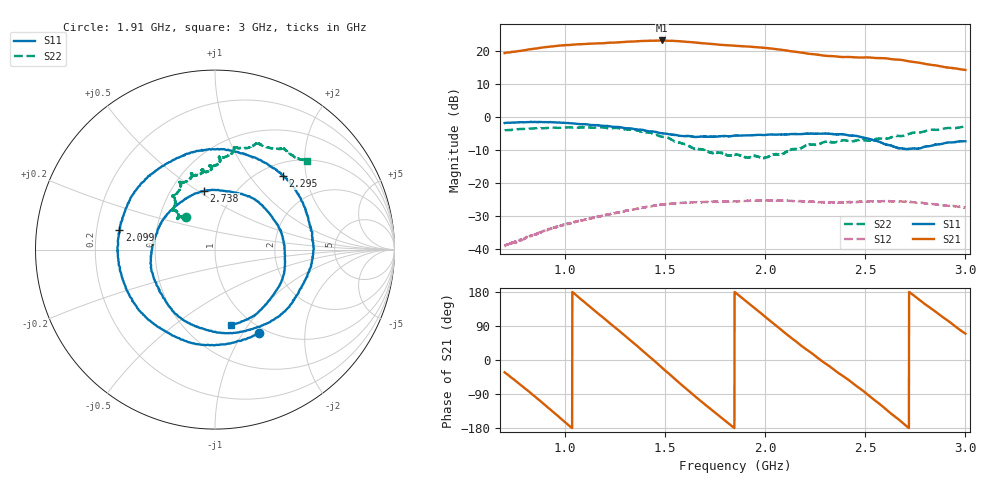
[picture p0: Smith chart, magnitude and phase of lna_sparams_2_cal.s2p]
#  HZ  S  RI  R  50.00
! Rohde & Schwarz Vector Network Analyzer
! Rohde-Schwarz,ZNB20-2Port,1311601062102243,3.20
! Created: UTC 10/31/2022, 5:04:12 PM
! freq[Hz]  re:S11  im:S11  re:S21  im:S21  re:S12  im:S12  re:S22  im:S22
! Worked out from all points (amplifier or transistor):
!   2301 points, 700 MHz to 3 GHz, reference 50 ohm
!   highest |S21| = 23.2 dB at 1.484 GHz (marker M1)
!   |S21| within 3 dB of that: 792.1 MHz to 2.102 GHz (1.31 GHz wide, 90.5 % of centre)
!   unconditionally stable (mu >= 1): start of sweep to 860.5 MHz; 2.042077 GHz to 2.046952 GHz; 2.052 GHz to end of sweep (the widest 3 of 7)
!   at 1.083 GHz: K = 0.81, MSG = 26.8 dB, |S12| = -31.5 dB
!   at 1.85 GHz: K = 0.96, MSG = 23.6 dB, |S12| = -25.5 dB
!   at 3 GHz: K = 1.32, MAG = 17.5 dB, |S12| = -27.5 dB
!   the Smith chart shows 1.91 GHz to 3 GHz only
!   S11 on the Smith chart (normalised r, x): 1.91 GHz: 0.92, -1.19; 2.099 GHz: 0.30, +0.09; 2.295 GHz: 1.24, +1.48; 2.738 GHz: 0.72, +0.53; 3 GHz: 0.81, -0.83
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7e8  0.8044 0.0997  7.844 -4.993  -0.00203 -0.0108  0.5191 0.3587
8.89e8  -0.3628 -0.7547  -4.421 -10.41  -0.0178 -0.00365  0.6231 -0.2605
9.97e8  -0.815 0.0416  -11.62 -3.816  -0.0195 0.0125  0.3682 -0.585
1.084e9  -0.4475 0.6371  -11.83 4.489  -0.00975 0.0252  0.0582 -0.6945
1.181e9  0.2647 0.6912  -5.84 11.71  0.0106 0.0298  -0.283 -0.635
1.272e9  0.6731 0.1932  3.099 13.2  0.0298 0.0196  -0.5169 -0.4287
1.384e9  0.3762 -0.5181  12.68 6.352  0.0411 -0.0101  -0.5883 -0.0862
1.467e9  -0.1937 -0.5433  14.1 -2.845  0.0295 -0.0353  -0.5087 0.1119
1.484e9  -0.3023 -0.4795  13.61 -4.825  0.025 -0.0395  -0.4801 0.1529
1.567e9  -0.5236 0.0207  7.473 -11.93  -0.00354 -0.0494  -0.3433 0.2186
1.644e9  -0.2551 0.4272  -0.6649 -13.51  -0.0307 -0.0408  -0.2565 0.2126
1.75e9  0.3449 0.3689  -9.532 -8.316  -0.0512 -0.00778  -0.1968 0.2041
1.85e9  0.4875 -0.1891  -11.99 0.2511  -0.0451 0.0275  -0.1793 0.1988
1.91e9  0.2469 -0.4646  -10.46 5.249  -0.0305 0.0442  -0.1614 0.1798
2.007e9  -0.3365 -0.4177  -4.041 10.34  0.00482 0.0541  -0.1698 0.1756
2.099e9  -0.5325 0.1082  3.216 9.742  0.0364 0.0392  -0.2048 0.1998
2.234e9  0.0695 0.5549  8.554 2.712  0.0517 -0.00538  -0.237 0.2999
2.295e9  0.3777 0.4116  8.449 -1.032  0.045 -0.0246  -0.1894 0.3691
2.473e9  0.283 -0.4142  2.051 -7.699  -0.00525 -0.0515  -0.0681 0.4425
2.617e9  -0.343 -0.1507  -5.516 -5.293  -0.0474 -0.0235  0.0162 0.4743
2.738e9  -0.0609 0.3267  -6.775 0.9496  -0.047 0.0196  0.1075 0.5652
3e9  0.088 -0.4189  1.8 4.842  0.023 0.0355  0.515 0.4929
